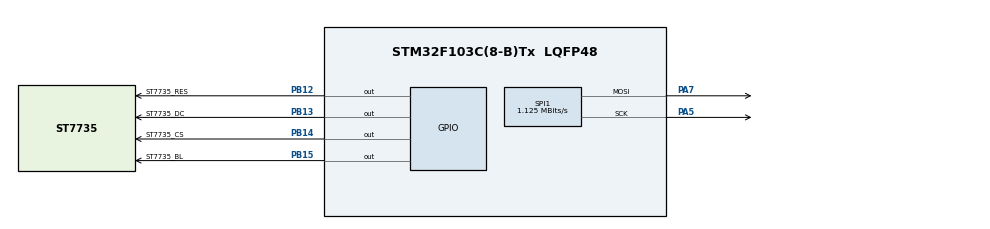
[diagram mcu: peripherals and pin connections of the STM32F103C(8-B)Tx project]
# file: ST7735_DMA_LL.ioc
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Dma.Request0=SPI1_TX
Dma.SPI1_TX.0.Direction=DMA_MEMORY_TO_PERIPH
Dma.SPI1_TX.0.Instance=DMA1_Channel3
Dma.SPI1_TX.0.MemDataAlignment=DMA_MDATAALIGN_HALFWORD
Dma.SPI1_TX.0.MemInc=DMA_MINC_ENABLE
Dma.SPI1_TX.0.Mode=DMA_NORMAL
Dma.SPI1_TX.0.PeriphDataAlignment=DMA_PDATAALIGN_HALFWORD
Dma.SPI1_TX.0.PeriphInc=DMA_PINC_DISABLE
Dma.SPI1_TX.0.Priority=DMA_PRIORITY_LOW
Mcu.Family=STM32F1
Mcu.Name=STM32F103C(8-B)Tx
Mcu.Package=LQFP48
NVIC.DMA1_Channel3_IRQn=true\:0\:0\:false\:false\:true\:false\:true
NVIC.PriorityGroup=NVIC_PRIORITYGROUP_4
PA13.Mode=Serial_Wire
PA13.Signal=SYS_JTMS-SWDIO
PA14.Mode=Serial_Wire
PA14.Signal=SYS_JTCK-SWCLK
PA5.Mode=TX_Only_Simplex_Unidirect_Master
PA5.Signal=SPI1_SCK
PA7.Mode=TX_Only_Simplex_Unidirect_Master
PA7.Signal=SPI1_MOSI
PB12.GPIO_Label=ST7735_RES
PB12.Signal=GPIO_Output
PB13.GPIO_Label=ST7735_DC
PB13.Signal=GPIO_Output
PB14.GPIO_Label=ST7735_CS
PB14.Signal=GPIO_Output
PB15.GPIO_Label=ST7735_BL
PB15.Signal=GPIO_Output
PD0-OSC_IN.Mode=HSE-External-Oscillator
PD0-OSC_IN.Signal=RCC_OSC_IN
PD1-OSC_OUT.Mode=HSE-External-Oscillator
PD1-OSC_OUT.Signal=RCC_OSC_OUT
ProjectManager.HeapSize=0x200
ProjectManager.StackSize=0x400
ProjectManager.TargetToolchain=STM32CubeIDE
RCC.AHBFreq_Value=72000000
RCC.APB1CLKDivider=RCC_HCLK_DIV2
RCC.APB1Freq_Value=36000000
RCC.APB1TimFreq_Value=72000000
RCC.APB2Freq_Value=72000000
RCC.APB2TimFreq_Value=72000000
RCC.HCLKFreq_Value=72000000
RCC.PLLMUL=RCC_PLL_MUL9
RCC.PLLSourceVirtual=RCC_PLLSOURCE_HSE
RCC.SYSCLKFreq_VALUE=72000000
RCC.SYSCLKSource=RCC_SYSCLKSOURCE_PLLCLK
RCC.USBFreq_Value=72000000
SPI1.BaudRatePrescaler=SPI_BAUDRATEPRESCALER_64
SPI1.CLKPhase=SPI_PHASE_1EDGE
SPI1.CalculateBaudRate=1.125 MBits/s
SPI1.Direction=SPI_DIRECTION_2LINES
SPI1.Mode=SPI_MODE_MASTER
SPI1.VirtualType=VM_MASTER
board=custom

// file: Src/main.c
/* USER CODE BEGIN Header */
/**
  ******************************************************************************
  * @file           : main.c
  * @brief          : Fast ST7735 DMA Library for STM32F10x LL (Low Layer drivers)
  ******************************************************************************
  * @attention
  *
  * <h2><center>&copy; Copyright (c) 2019 STMicroelectronics.
  * All rights reserved.</center></h2>
  *
  * This software component is licensed by ST under BSD 3-Clause license,
  * the "License"; You may not use this file except in compliance with the
  * License. You may obtain a copy of the License at:
  *                        opensource.org/licenses/BSD-3-Clause
  *
  ******************************************************************************
  */
/* USER CODE END Header */

#include "main.h"

/* USER CODE BEGIN Includes */
#include "st7735.h"
#include "testimg.h"
#include <stdlib.h>
#include <stdio.h>
/* USER CODE END Includes */

/* USER CODE BEGIN PD */
uint8_t r = 0, randomChar, nchars;
extern volatile uint32_t flag_DMA_CH3_bsy;
uint32_t ticksStart, ticksEnd;
char str_time[10];
/* USER CODE END PD */

void SystemClock_Config(void);
static void MX_GPIO_Init(void);
static void MX_DMA_Init(void);
static void MX_SPI1_Init(void);

/* USER CODE BEGIN 0 */
void demo2(void)
{
    ST7735_FillScreen(ST7735_BLACK);
    ST7735_FillRectangle(0, 0, 127, 53, ST7735_RED);
    ST7735_DrawText("RED", FONT5, 15, 20, ST7735_WHITE, ST7735_RED);
    ST7735_FillRectangle(0, 53, 127, 106, ST7735_BLUE);
    ST7735_DrawText("BLUE", FONT5, 15, 60, ST7735_WHITE, ST7735_BLUE);
    ST7735_FillRectangle(0, 106, 127, 160, ST7735_GREEN);
    ST7735_DrawText("GREEN", FONT5, 15, 120, ST7735_WHITE, ST7735_GREEN);
    LL_mDelay(2000);
}

void demoTFT(void)
{
    ST7735_SetRotation(r);

    ST7735_FillScreen(ST7735_BLACK);

    ST7735_FillScreen(ST7735_BLACK);

    for (int i = 0; i < ST7735_GetHeight(); i += 4) {
        ST7735_DrawFastHLine(0, i, ST7735_GetWidth() - 1, ST7735_WHITE);
    }

    for (int i = 0; i < ST7735_GetWidth(); i += 4) {
        ST7735_DrawFastVLine(i, 0, ST7735_GetHeight() - 1, ST7735_WHITE);
    }

    LL_mDelay(2000);

    // Check colors
    ST7735_FillScreen(ST7735_BLACK);
    ticksEnd = SysTick->VAL;
    ST7735_DrawText("BLACK", FONT5, 5, 1, ST7735_WHITE, ST7735_BLACK);
    LL_mDelay(500);

    ST7735_FillScreen(ST7735_Color565(0, 0, 255));
    ST7735_DrawText("BLUE", FONT5, 5, 1, ST7735_WHITE, ST7735_BLUE);
    LL_mDelay(500);

    ST7735_FillScreen(ST7735_Color565(255, 0, 0));
    ST7735_DrawText("RED", FONT5, 5, 1, ST7735_WHITE, ST7735_RED);
    LL_mDelay(500);

    ST7735_FillScreen(ST7735_Color565(0, 255, 0));
    ;
    ST7735_DrawText("GREEN", FONT5, 5, 1, ST7735_WHITE, ST7735_GREEN);
    LL_mDelay(500);

    ST7735_FillScreen(ST7735_CYAN);
    ST7735_DrawText("CYAN", FONT5, 5, 1, ST7735_WHITE, ST7735_CYAN);
    LL_mDelay(500);

    ST7735_FillScreen(ST7735_MAGENTA);
    ST7735_DrawText("MAGENTA", FONT5, 5, 1, ST7735_WHITE, ST7735_MAGENTA);
    LL_mDelay(500);

    ST7735_FillScreen(ST7735_YELLOW);
    ST7735_DrawText("YELLOW", FONT5, 5, 1, ST7735_WHITE, ST7735_YELLOW);
    LL_mDelay(500);

    ST7735_FillScreen(ST7735_WHITE);
    ST7735_DrawText("WHITE", FONT5, 5, 1, ST7735_BLACK, ST7735_WHITE);
    LL_mDelay(500);

    // Draw circles
    ST7735_FillScreen(ST7735_BLACK);
    for (int i = 0; i < ST7735_GetHeight() / 2; i += 2) {
        ST7735_DrawCircle(ST7735_GetWidth() / 2, ST7735_GetHeight() / 2, i, ST7735_YELLOW);
    }
    LL_mDelay(1000);

    ST7735_FillScreen(ST7735_BLACK);
    ST7735_FillTriangle(0, 0, ST7735_GetWidth() / 2, ST7735_GetHeight(), ST7735_GetWidth(), 0, ST7735_RED);
    LL_mDelay(1000);

    ST7735_FillScreen(ST7735_BLACK);

    SysTick->CTRL = 0; // Disable SysTick
    SysTick->LOAD = 0xFFFFFF; // Count down from maximum value
    SysTick->VAL = 0; // Clear current value to 0
    SysTick->CTRL = 0x5; // Enable SysTick,  and use processor clock
    while (SysTick->VAL == 0)
        ; // Wait until SysTick reloaded
    ticksStart = SysTick->VAL; // Read start time value

    ST7735_DrawImage(0, 0, 128, 128, (uint16_t*)test_img_128x128);

    ticksEnd = SysTick->VAL;
    SysTick->CTRL = 0; // Disable SysTick
    if ((SysTick->CTRL & 0x10000) == 0) // if no overflow
        nchars = sprintf(str_time, "Ticks: %lu", ticksStart - ticksEnd); // Calculate total cycles
    else
        nchars = sprintf(str_time, "overflow");

    ST7735_DrawText(str_time, FONT3, 5, 110, ST7735_WHITE, ST7735_BLACK);
    SysTick->LOAD = 0x1193F;
    SysTick->CTRL = 0x5; // Enable SysTick
    LL_mDelay(3000);

    ST7735_FillScreen(ST7735_BLACK);
    ST7735_DrawText("Custom font", FONT6, 5, 15, ST7735_WHITE, ST7735_BLACK);
    ST7735_DrawText("ABCDEFGHI", FONT6, 5, 40, ST7735_WHITE, ST7735_BLACK);
    ST7735_DrawText("lmnopqrst", FONT6, 5, 65, ST7735_WHITE, ST7735_BLACK);
    ST7735_DrawText("0123456789", FONT6, 5, 90, ST7735_WHITE, ST7735_BLACK);
    LL_mDelay(2000);
    r++;
}
/* USER CODE END 0 */

int main(void)
{

    /* MCU Configuration--------------------------------------------------------*/

    /* Reset of all peripherals, Initializes the Flash interface and the Systick. */

    LL_APB2_GRP1_EnableClock(LL_APB2_GRP1_PERIPH_AFIO);
    LL_APB1_GRP1_EnableClock(LL_APB1_GRP1_PERIPH_PWR);

    NVIC_SetPriorityGrouping(NVIC_PRIORITYGROUP_4);

    /* System interrupt init*/

    /** NOJTAG: JTAG-DP Disabled and SW-DP Enabled
  */
    LL_GPIO_AF_Remap_SWJ_NOJTAG();

    /* Configure the system clock */
    SystemClock_Config();

    /* Initialize all configured peripherals */
    MX_GPIO_Init();
    MX_DMA_Init();
    MX_SPI1_Init();
    /* USER CODE BEGIN 2 */
    LL_DMA_DisableChannel(DMA1, LL_DMA_CHANNEL_3);
    LL_SPI_Enable(SPI1);
    ST7735_Init();
    /* USER CODE END 2 */

    /* Infinite loop */
    /* USER CODE BEGIN WHILE */

    //demo2();
    while (1) {
        /* USER CODE END WHILE */

        /* USER CODE BEGIN 3 */

        demoTFT();
    }
    /* USER CODE END 3 */
}

void SystemClock_Config(void)
{
    LL_FLASH_SetLatency(LL_FLASH_LATENCY_2);

    if (LL_FLASH_GetLatency() != LL_FLASH_LATENCY_2) {
        Error_Handler();
    }
    LL_RCC_HSE_Enable();

    /* Wait till HSE is ready */
    while (LL_RCC_HSE_IsReady() != 1) {
    }
    LL_RCC_PLL_ConfigDomain_SYS(LL_RCC_PLLSOURCE_HSE_DIV_1, LL_RCC_PLL_MUL_9);
    LL_RCC_PLL_Enable();

    /* Wait till PLL is ready */
    while (LL_RCC_PLL_IsReady() != 1) {
    }
    LL_RCC_SetAHBPrescaler(LL_RCC_SYSCLK_DIV_1);
    LL_RCC_SetAPB1Prescaler(LL_RCC_APB1_DIV_2);
    LL_RCC_SetAPB2Prescaler(LL_RCC_APB2_DIV_1);
    LL_RCC_SetSysClkSource(LL_RCC_SYS_CLKSOURCE_PLL);

    /* Wait till System clock is ready */
    while (LL_RCC_GetSysClkSource() != LL_RCC_SYS_CLKSOURCE_STATUS_PLL) {
    }
    LL_Init1msTick(72000000);
    LL_SYSTICK_SetClkSource(LL_SYSTICK_CLKSOURCE_HCLK);
    LL_SetSystemCoreClock(72000000);
}

static void MX_SPI1_Init(void)
{

    LL_SPI_InitTypeDef SPI_InitStruct = { 0 };

    LL_GPIO_InitTypeDef GPIO_InitStruct = { 0 };

    /* Peripheral clock enable */
    LL_APB2_GRP1_EnableClock(LL_APB2_GRP1_PERIPH_SPI1);

    LL_APB2_GRP1_EnableClock(LL_APB2_GRP1_PERIPH_GPIOA);
    /**SPI1 GPIO Configuration
  PA5   ------> SPI1_SCK
  PA7   ------> SPI1_MOSI
  */
    GPIO_InitStruct.Pin = LL_GPIO_PIN_5 | LL_GPIO_PIN_7;
    GPIO_InitStruct.Mode = LL_GPIO_MODE_ALTERNATE;
    GPIO_InitStruct.Speed = LL_GPIO_SPEED_FREQ_HIGH;
    GPIO_InitStruct.OutputType = LL_GPIO_OUTPUT_PUSHPULL;
    LL_GPIO_Init(GPIOA, &GPIO_InitStruct);

    /* SPI1 DMA Init */

    /* SPI1_TX Init */
    LL_DMA_SetDataTransferDirection(DMA1, LL_DMA_CHANNEL_3, LL_DMA_DIRECTION_MEMORY_TO_PERIPH);
    LL_DMA_SetChannelPriorityLevel(DMA1, LL_DMA_CHANNEL_3, LL_DMA_PRIORITY_LOW);
    LL_DMA_SetMode(DMA1, LL_DMA_CHANNEL_3, LL_DMA_MODE_NORMAL);
    LL_DMA_SetPeriphIncMode(DMA1, LL_DMA_CHANNEL_3, LL_DMA_PERIPH_NOINCREMENT);
    LL_DMA_SetMemoryIncMode(DMA1, LL_DMA_CHANNEL_3, LL_DMA_MEMORY_INCREMENT);
    LL_DMA_SetPeriphSize(DMA1, LL_DMA_CHANNEL_3, LL_DMA_PDATAALIGN_HALFWORD);
    LL_DMA_SetMemorySize(DMA1, LL_DMA_CHANNEL_3, LL_DMA_MDATAALIGN_HALFWORD);

    /* SPI1 parameter configuration*/
    SPI_InitStruct.TransferDirection = LL_SPI_HALF_DUPLEX_TX;
    SPI_InitStruct.Mode = LL_SPI_MODE_MASTER;
    SPI_InitStruct.DataWidth = LL_SPI_DATAWIDTH_8BIT;
    SPI_InitStruct.ClockPolarity = LL_SPI_POLARITY_HIGH;
    SPI_InitStruct.ClockPhase = LL_SPI_PHASE_2EDGE;
    SPI_InitStruct.NSS = LL_SPI_NSS_SOFT;
    SPI_InitStruct.BaudRate = LL_SPI_BAUDRATEPRESCALER_DIV2;
    SPI_InitStruct.BitOrder = LL_SPI_MSB_FIRST;
    SPI_InitStruct.CRCCalculation = LL_SPI_CRCCALCULATION_DISABLE;
    SPI_InitStruct.CRCPoly = 10;
    LL_SPI_Init(SPI1, &SPI_InitStruct);
}

static void MX_DMA_Init(void)
{

    /* Init with LL driver */
    /* DMA controller clock enable */
    LL_AHB1_GRP1_EnableClock(LL_AHB1_GRP1_PERIPH_DMA1);

    /* DMA interrupt init */
    // Assign request line
    // LL_DMA_SetPeriphRequest(DMA1,LL_DMA_CHANNEL_3, LL_DMA_REQUEST_1);

    // Enable DMA interrupts on DMA Tx complete and DMA error
    //LL_DMA_EnableIT_TC(DMA1, LL_DMA_CHANNEL_3);  // DMA Tx Complete IT
    //LL_DMA_EnableIT_TE(DMA1, LL_DMA_CHANNEL_3);  // DMA error
    // note: this will set IT flags internally to DMA periph
    // but won't trigger IT on Cortex core as long as NVIC not set
    /* DMA1_Channel3_IRQn interrupt configuration */
    NVIC_SetPriority(DMA1_Channel3_IRQn, NVIC_EncodePriority(NVIC_GetPriorityGrouping(), 0, 0));
    NVIC_EnableIRQ(DMA1_Channel3_IRQn);
}

static void MX_GPIO_Init(void)
{
    LL_GPIO_InitTypeDef GPIO_InitStruct = { 0 };

    /* GPIO Ports Clock Enable */
    LL_APB2_GRP1_EnableClock(LL_APB2_GRP1_PERIPH_GPIOD);
    LL_APB2_GRP1_EnableClock(LL_APB2_GRP1_PERIPH_GPIOA);
    LL_APB2_GRP1_EnableClock(LL_APB2_GRP1_PERIPH_GPIOB);

    /**/
    LL_GPIO_ResetOutputPin(GPIOB, ST7735_RES_Pin | ST7735_DC_Pin | ST7735_CS_Pin | ST7735_BL_Pin);

    /**/
    GPIO_InitStruct.Pin = ST7735_RES_Pin | ST7735_DC_Pin | ST7735_CS_Pin | ST7735_BL_Pin;
    GPIO_InitStruct.Mode = LL_GPIO_MODE_OUTPUT;
    GPIO_InitStruct.Speed = LL_GPIO_SPEED_FREQ_LOW;
    GPIO_InitStruct.OutputType = LL_GPIO_OUTPUT_PUSHPULL;
    LL_GPIO_Init(GPIOB, &GPIO_InitStruct);
}

/* USER CODE BEGIN 4 */
void DMA1_Channel3_TransferComplete(void)
{
    LL_DMA_ClearFlag_GI3(DMA1);
    flag_DMA_CH3_bsy = 1;
}
/* USER CODE END 4 */

void Error_Handler(void)
{
}

/************************ (C) COPYRIGHT STMicroelectronics *****END OF FILE****/
